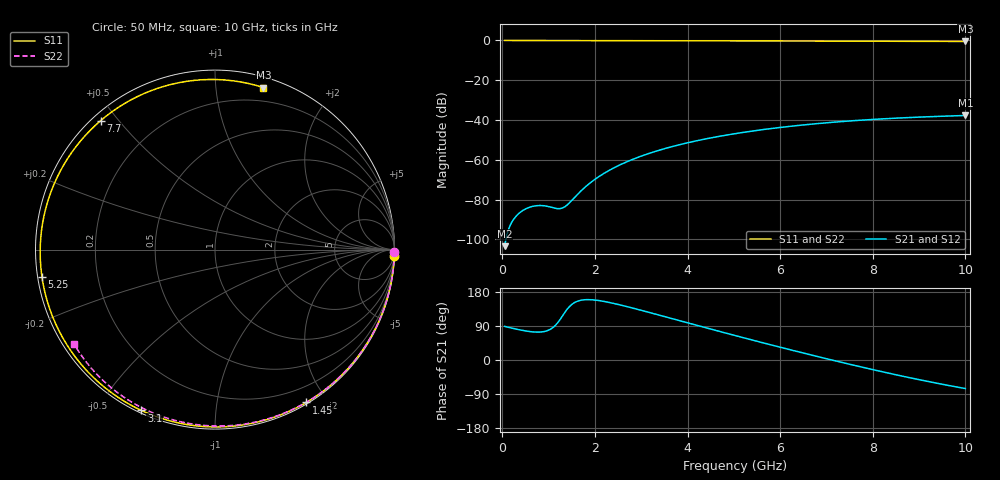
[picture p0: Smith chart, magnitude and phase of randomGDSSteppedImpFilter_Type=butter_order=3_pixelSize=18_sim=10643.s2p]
! freq	dB(S11)	phase(S11)	dB(S12)	phase(S12)
!  dB(S21)	phase(S21)	dB(S22)	phase(S22)
!S-par simulation data
#  GHz  S  DB  R 50
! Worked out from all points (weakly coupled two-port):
!   200 points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, 50 MHz to 10 GHz, reference 50 ohm
!   highest |S21| = -37.72 dB at 10 GHz (marker M1); lowest = -103.4 dB at 50 MHz (marker M2)
!   lowest |S11| = -0.5 dB at 10 GHz (marker M3), VSWR 33.70, Z = 4.15 + j67 ohm
!   |S11| at or under -10 dB: nowhere
!   |S22| runs from -0.5 to 0.0 dB; largest |S21 - S12| = 0
!   S11 on the Smith chart (normalised r, x): 50 MHz: 0, -53; 1.45 GHz: 0.02, -1.76; 3.1 GHz: 0.01, -0.64; 5.25 GHz: 0.01, -0.08; 7.7 GHz: 0.02, +0.45; 10 GHz: 0.08, +1.34
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0.05  -0.00 -2.1  -103.42 88.7  -103.42 88.7  -0.00 -0.9
0.35  -0.02 -14.8  -87.14 80.2  -87.14 80.2  -0.01 -5.9
0.7  -0.04 -29.4  -83.20 73.8  -83.20 73.8  -0.01 -11.8
1.1  -0.06 -45.6  -84.10 86.2  -84.10 86.2  -0.02 -18.5
1.45  -0.07 -59.1  -81.62 140.9  -81.62 140.9  -0.03 -24.4
1.5  -0.07 -61.0  -80.42 146.5  -80.42 146.5  -0.03 -25.2
1.55  -0.08 -62.9  -79.19 150.8  -79.19 150.8  -0.03 -26.0
1.75  -0.08 -70.3  -74.54 158.7  -74.54 158.7  -0.04 -29.3
2  -0.09 -79.2  -69.82 158.2  -69.82 158.2  -0.04 -33.4
2.3  -0.10 -89.4  -65.42 152.1  -65.42 152.1  -0.05 -38.3
2.65  -0.11 -100.8  -61.39 142.2  -61.39 142.2  -0.06 -43.9
3.1  -0.13 -114.6  -57.33 127.9  -57.33 127.9  -0.07 -51.0
3.4  -0.14 -123.3  -55.10 118.1  -55.10 118.1  -0.07 -55.7
4.2  -0.16 -144.9  -50.41 91.5  -50.41 91.5  -0.10 -67.8
5.05  -0.20 -166.1  -46.77 63.8  -46.77 63.8  -0.12 -80.3
5.25  -0.21 -171.0  -46.05 57.4  -46.05 57.4  -0.13 -83.2
5.95  -0.25 172.5  -43.88 35.3  -43.88 35.3  -0.16 -93.1
6.7  -0.29 155.1  -42.02 12.3  -42.02 12.3  -0.20 -103.3
7.7  -0.35 131.6  -40.15 -17.0  -40.15 -17.0  -0.27 -116.6
8.35  -0.40 115.8  -39.25 -35.0  -39.25 -35.0  -0.32 -125.1
9.2  -0.45 94.4  -38.35 -56.9  -38.35 -56.9  -0.40 -136.0
10  -0.52 73.3  -37.72 -75.4  -37.72 -75.4  -0.49 -146.3
